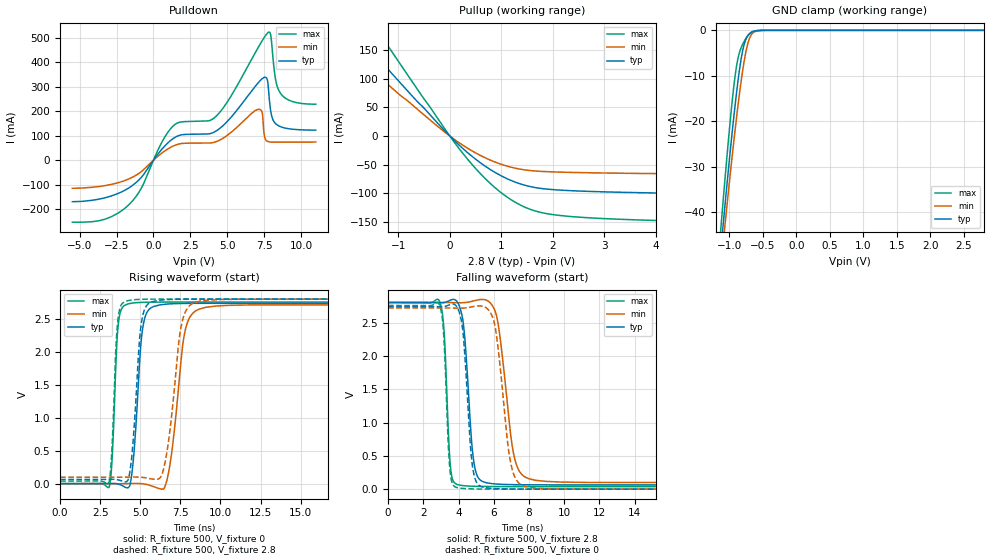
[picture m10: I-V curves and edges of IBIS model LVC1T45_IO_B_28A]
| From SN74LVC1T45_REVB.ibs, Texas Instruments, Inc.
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[Model]   LVC1T45_IO_B_28A
Model_type  I/O
Vinl=0.7
Vinh=1.7
Enable   Active-Low
Vref =   0
Rref =   2000
Cref =   15p
Vmeas =   1.25
| variable   typ   min   max
C_comp   7.03pF   6.20pF   8.18pF
| C_pullup   10.99pF   9.76pF   12.53pF
| C_pulldown   10.57pF   7.61pF   14.13pF
| C_tri-state   7.03pF   6.20pF   8.18pF
[Temperature Range]   40   100   -40
| Ambient temperature   25   85   -40
[Voltage range]   2.8   2.8   2.8
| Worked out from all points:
|   slope of the pulldown table from 0 to 0.42 V, typ, clamps not added: 12.3 ohm
|   slope of the pullup table from 0 to 0.42 V, typ, clamps not added: 12.2 ohm
|   GND clamp passes 1 mA (typ) near -0.71 V on its own axis
|   rising waveform, R_fixture 500, V_fixture 0: 20-80 % time 434ps typ, 689ps min, 276ps max; typ from 0 V to 2.74 V
|   falling waveform, R_fixture 500, V_fixture 2.8: 20-80 % time 417ps typ, 691ps min, 267ps max; typ from 2.8 V to 0.064 V
|   rising waveform, R_fixture 500, V_fixture 2.8: 20-80 % time 436ps typ, 703ps min, 278ps max; typ from 0.064 V to 2.8 V
|   falling waveform, R_fixture 500, V_fixture 0: 20-80 % time 402ps typ, 646ps min, 260ps max; typ from 2.74 V to 0 V
[GND Clamp]
| LVC1T45_IO_B_28A
|   Voltage   I(typ)   I(min)   I(max)
-5.5V     -910.9mA   -836.3mA   -1.031A
-1.14V    -50.34mA   -53.89mA   -45.85mA
-1.12V    -47.12mA   -50.9mA    -42.25mA
-1.075V   -39.97mA   -44.24mA   -34.35mA
-1.06V    -37.63mA   -42.05mA   -31.78mA
-960mV    -22.72mA   -27.97mA   -15.92mA
-880mV    -12.18mA   -17.61mA   -6.789mA
-825mV    -6.376mA   -11.28mA   -3.86mA
-775mV    -2.883mA   -6.453mA   -2.321mA
-710mV    -920.7uA   -2.212mA   -923.3uA
-645mV    -272.8uA   -519.5uA   -223.5uA
2.8V      8.953pA    15.32pA    7.945pA
[Pulldown]
| LVC1T45_IO_B_28A
|   Voltage   I(typ)   I(min)   I(max)
-5.5V     -169.9mA   -115.2mA   -253.7mA
-1.66V    -113.2mA   -76.45mA   -181.9mA
1.14V     79.49mA    51.82mA    127.3mA
4.225V    118.6mA    75.2mA     178.6mA
7.06V     313.9mA    207.7mA    457mA
7.365V    333.2mA    195.9mA    488.5mA
7.63V     338.4mA    81.63mA    512.9mA
7.805V    284.3mA    75.6mA     523.7mA
8.05V     173.3mA    73.9mA     453.3mA
8.28V     149.7mA    73.74mA    330mA
8.59V     137.7mA    73.76mA    275.3mA
11V       123mA      74.29mA    229mA
[Pullup]
| LVC1T45_IO_B_28A
|   Voltage   I(typ)   I(min)   I(max)
-5.5V     502.5mA    406.7mA    653.4mA
-2.51V    245.6mA    193.2mA    325.5mA
-2.015V   197.4mA    154.2mA    263mA
-1.895V   185.6mA    144.7mA    247.6mA
-1.435V   139.8mA    108.1mA    187.6mA
-20mV     1.83mA     1.366mA    2.531mA
460mV     -37.46mA   -27.37mA   -52.51mA
1.115V    -74.5mA    -52.48mA   -106.5mA
1.725V    -90.7mA    -61.27mA   -132.2mA
2.32V     -95.02mA   -63.26mA   -140mA
3.68V     -98.63mA   -65.12mA   -146.2mA
11V       -106.1mA   -69.35mA   -159mA
[Ramp]
| LVC1T45_IO_B_28A
| variable   typ   min   max
dV/dt_r   1.68/4.51E-10   1.68/7.19E-10   1.69/2.87E-10
dV/dt_f   1.67/4.32E-10   1.65/7.03E-10   1.69/2.77E-10
R_load = 500
[Rising Waveform]
| LVC1T45_IO_B_28A
R_fixture =   500
C_fixture =   0
L_fixture =   0
V_fixture =   0
V_fixture_min = 0
V_fixture_max = 0
|   Time   V(typ)   V(min)   V(max)
0s        154.7pV    326.9pV    90.5pV
3.05ns    1.159mV    18.75uV    -56.14mV
3.62ns    -6.99mV    -110uV     2.403V
4.19ns    -63.39mV   798.2uV    2.723V
5.12ns    2.311V     -2.132mV   2.75V
5.825ns   2.686V     -45.03mV   2.753V
6.655ns   2.724V     48.95mV    2.754V
7.755ns   2.734V     2.272V     2.754V
8.675ns   2.735V     2.648V     2.754V
34.99ns   2.736V     2.713V     2.754V
[Falling Waveform]
| LVC1T45_IO_B_28A
R_fixture =   500
C_fixture =   0
L_fixture =   0
V_fixture =   2.8
V_fixture_min = 2.8
V_fixture_max = 2.8
|   Time   V(typ)   V(min)   V(max)
0s        2.8V       2.8V       2.8V
2.94ns    2.797V     2.8V       2.807V
3.19ns    2.801V     2.8V       2.325V
3.54ns    2.836V     2.799V     339mV
3.955ns   2.798V     2.797V     67.93mV
4.865ns   413.9mV    2.825V     43.72mV
5.44ns    107.4mV    2.846V     40.79mV
7.195ns   67.75mV    450mV      38.76mV
7.985ns   65.61mV    157.2mV    38.59mV
34.99ns   63.86mV    97.93mV    38.4mV
[Rising Waveform]
| LVC1T45_IO_B_28A
R_fixture =   500
C_fixture =   0
L_fixture =   0
V_fixture =   2.8
V_fixture_min = 2.8
V_fixture_max = 2.8
|   Time   V(typ)   V(min)   V(max)
0s        63.77mV    97.78mV    38.36mV
3.045ns   64.86mV    97.8mV     18.41mV
3.575ns   59.04mV    97.68mV    2.425V
4.115ns   27.68mV    98.28mV    2.768V
5.06ns    2.423V     96.27mV    2.796V
5.7ns     2.757V     70.45mV    2.799V
6.47ns    2.788V     242.5mV    2.8V
7.52ns    2.798V     2.352V     2.8V
8.385ns   2.799V     2.748V     2.8V
34.99ns   2.8V       2.8V       2.8V
[Falling Waveform]
| LVC1T45_IO_B_28A
R_fixture =   500
C_fixture =   0
L_fixture =   0
V_fixture =   0
V_fixture_min = 0
V_fixture_max = 0
|   Time   V(typ)   V(min)   V(max)
0s        2.739V     2.718V     2.756V
2.925ns   2.736V     2.718V     2.761V
3.51ns    2.769V     2.718V     295.5mV
3.89ns    2.742V     2.716V     25.35mV
4.255ns   2.349V     2.717V     10.95mV
4.795ns   337.3mV    2.737V     4.365mV
5.325ns   35.08mV    2.747V     2.078mV
6.045ns   9.593mV    2.479V     886.1uV
7.72ns    1.333mV    45.35mV    223.1uV
34.99ns   77.34uV    133.9uV    39.5uV
